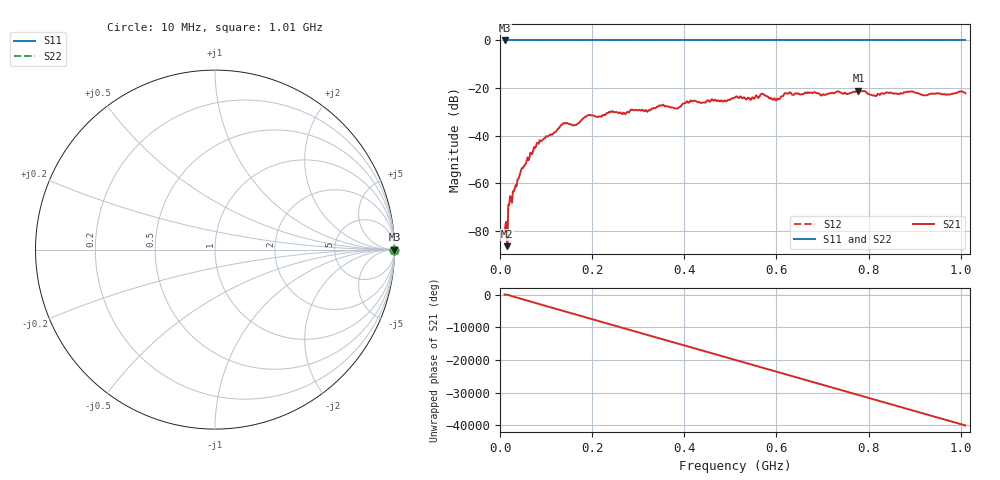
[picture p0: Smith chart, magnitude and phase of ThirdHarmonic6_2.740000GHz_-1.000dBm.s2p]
! 8/17/2025 6:47:41 AM
! C:\ANRITSUVNA\TEMP\TEMP.S2P
! CHANNEL.1
! TR.MEASUREMENT
! RAW.DATA
! RF.CORRECTION.OFF
! AVERAGING.OFF
! IF.BANDWIDTH: 5KHZ
! SWEEPTYPE:  FREQ.SWEEP(Linear)
! Reference Plane Port Info
! PORT:  PORT1  PORT2
! DISTANCE:  0  m  0  m
! TIME:  0  s  0  s
! PHASE.OFFSET:  0  deg.  0  deg.
! LOSS:  0  dB  0  dB
! REF.LOSS:  0  dB  0  dB
! REF.FREQ:  0  Hz  0  Hz
! Power Info
! POWER:  -20  dBm  -20  dBm
! EFF.POWER:  -20  dBm  -20  dBm
! SOURCE.ATTEN:  0  dB  0  dB
! TEST.ATTEN:  0  dB  0  dB
# GHZ S RI R 50.0
! FREQ.GHZ  S11RE  S11IM  S21RE  S21IM  S12RE  S12IM  S22RE  S22IM
!; PortSelection: Port_12
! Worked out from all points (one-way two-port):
!   501 points, 10 MHz to 1.01 GHz, reference 50 ohm
!   highest |S21| = -21.04 dB at 778 MHz (marker M1); lowest = -86.4 dB at 16 MHz (marker M2)
!   lowest |S11| = 0.0 dB at 10 MHz (marker M3)
!   |S11| at or under -10 dB: nowhere
!   |S22| runs from 0.0 to 0.0 dB; largest |S21 - S12| = 1.1
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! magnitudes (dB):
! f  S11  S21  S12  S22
! 10 MHz  0.0  -80.8  0.0  0.0
! 12 MHz  0.0  -77.1  0.0  0.0
! 16 MHz  0.0  -86.4  0.0  0.0
! 22 MHz  0.0  -65.4  0.0  0.0
! 42 MHz  0.0  -57.0  0.0  0.0
! 78 MHz  0.0  -44.6  0.0  0.0
! 136 MHz  0.0  -35.1  0.0  0.0
! 162 MHz  0.0  -35.6  0.0  0.0
! 178 MHz  0.0  -33.3  0.0  0.0
! 344 MHz  0.0  -27.7  0.0  0.0
! 382 MHz  0.0  -28.5  0.0  0.0
! 416 MHz  0.0  -25.6  0.0  0.0
! 510 MHz  0.0  -23.9  0.0  0.0
! 546 MHz  0.0  -24.2  0.0  0.0
! 570 MHz  0.0  -22.4  0.0  0.0
! 602 MHz  0.0  -24.4  0.0  0.0
! 622 MHz  0.0  -22.3  0.0  0.0
! 678 MHz  0.0  -22.1  0.0  0.0
! 778 MHz  0.0  -21.0  0.0  0.0
! 812 MHz  0.0  -23.1  0.0  0.0
! 844 MHz  0.0  -22.0  0.0  0.0
! 1.01 GHz  0.0  -22.1  0.0  0.0
